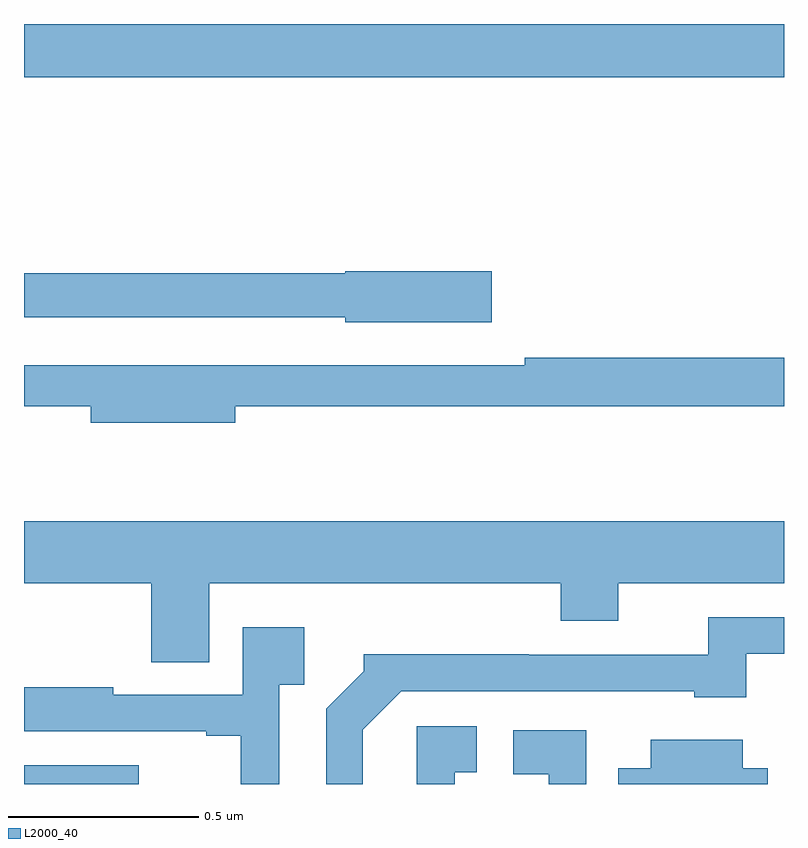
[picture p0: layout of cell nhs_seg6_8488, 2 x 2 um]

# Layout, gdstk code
import gdstk
lib = gdstk.Library(unit=1e-6, precision=1e-09)
def R(c, l, rs):  # rectangles x0, y0, x1, y1
    for r in rs: c.add(gdstk.rectangle(r[:2], r[2:], *l))
def P(c, l, *ps):  # polygons
    for p in ps: c.add(gdstk.Polygon(p, *l))
L2000_40 = (2000, 40)

nhs_seg6_8488 = lib.new_cell('nhs_seg6_8488')
R(nhs_seg6_8488, L2000_40, [(222,921.5,222.302,921.549), (222,923.36,224,923.5)])
P(nhs_seg6_8488, L2000_40, [(223.231,922.85),(222.846,922.85),(222.846,922.844),(222,922.844),(222,922.728),(222.846,922.728),(222.846,922.715),(223.231,922.715)],
  [(222.556,922.494),(224,922.494),(224,922.622),(223.318,922.622),(223.318,922.602),(222,922.602),(222,922.494),(222.176,922.494),(222.176,922.451),(222.556,922.451)],
  [(222.487,922.028),(223.412,922.028),(223.412,921.929),(223.564,921.929),(223.564,922.028),(224,922.028),(224,922.192),(222,922.192),(222,922.028),(222.335,922.028),(222.335,921.82),(222.487,921.82)],
  [(222.892,921.643),(222.993,921.744),(223.764,921.744),(223.764,921.728),(223.9,921.728),(223.9,921.843),(224,921.843),(224,921.939),(223.801,921.939),(223.801,921.84),(223.328,921.84),(223.328,921.842),(222.894,921.842),(222.894,921.797),(222.795,921.698),(222.795,921.5),(222.892,921.5)],
  [(222.672,921.761),(222.737,921.761),(222.737,921.913),(222.576,921.913),(222.576,921.735),(222.235,921.735),(222.235,921.754),(222,921.754),(222,921.639),(222.479,921.639),(222.479,921.627),(222.571,921.627),(222.571,921.5),(222.672,921.5)],
  [(223.134,921.531),(223.192,921.531),(223.192,921.652),(223.034,921.652),(223.034,921.5),(223.134,921.5)],
  [(223.479,921.642),(223.287,921.642),(223.287,921.526),(223.381,921.526),(223.381,921.5),(223.479,921.5)],
  [(223.957,921.541),(223.891,921.541),(223.891,921.616),(223.649,921.616),(223.649,921.541),(223.564,921.541),(223.564,921.5),(223.957,921.5)])

lib.write_gds('nhs_seg6_8488.gds')
